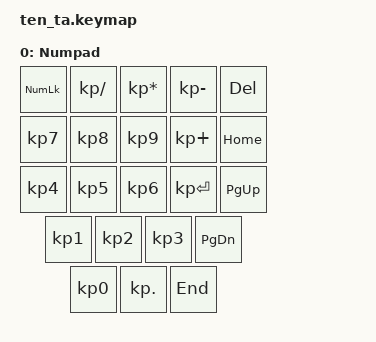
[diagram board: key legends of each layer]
#include <behaviors.dtsi>
#include <dt-bindings/zmk/keys.h>

/ {
    keymap {
        compatible = "zmk,keymap";

        default_layer {
            display-name = "Numpad";

            bindings = <
                &kp KP_NUMLOCK  &kp KP_DIVIDE  &kp KP_MULTIPLY  &kp KP_MINUS  &kp DEL
                &kp KP_N7      &kp KP_N8      &kp KP_N9        &kp KP_PLUS   &kp HOME
                &kp KP_N4      &kp KP_N5      &kp KP_N6        &kp KP_ENTER  &kp PG_UP
                &kp KP_N1      &kp KP_N2      &kp KP_N3                      &kp PG_DN
                &kp KP_N0      &kp KP_DOT                                    &kp END
            >;
        };
    };
};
